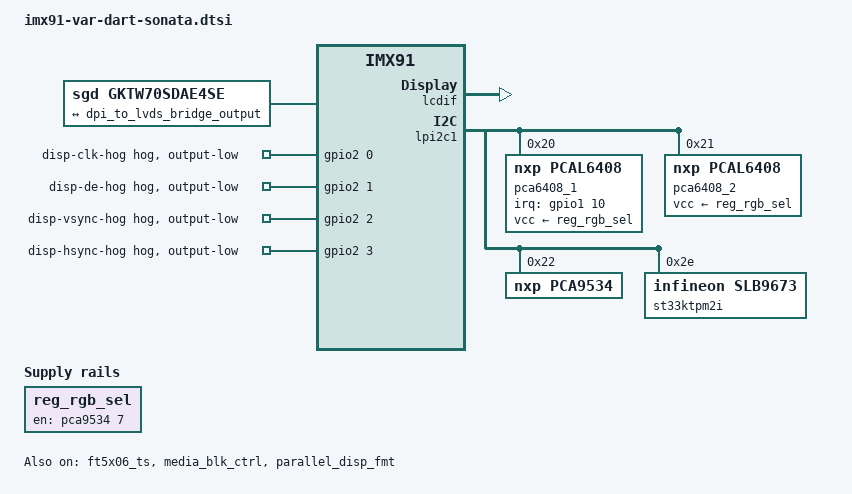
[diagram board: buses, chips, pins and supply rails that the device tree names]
// SPDX-License-Identifier: (GPL-2.0+ OR MIT)
/*
 * Copyright 2024 NXP
 * Copyright 2025 Variscite Ltd.
 */
#include "imx91-var-dart-dt8mcustomboard.dtsi"

/ {
	lvds_panel: lvds-panel {
		compatible = "sgd,gktw70sdae4se", "panel-lvds";
		width-mm = <153>;
		height-mm = <87>;
		label = "gktw70sdae4se";
		data-mapping = "jeida-24";
		status = "okay";

		panel-timing {
			clock-frequency = <30000000>;
			hactive = <800>;
			vactive = <480>;
			hback-porch = <40>;
			hfront-porch = <40>;
			vback-porch = <29>;
			vfront-porch = <13>;
			hsync-len = <48>;
			vsync-len = <3>;
			hsync-active = <0>;
			vsync-active = <0>;
			pixelclk-active = <1>;
			de-active = <1>;
		};

		port {
			lvds_input: endpoint {
				remote-endpoint = <&dpi_to_lvds_bridge_output>;
			};
		};
	};

	reg_rgb_sel: regulator-rgb-sel {
		compatible = "regulator-fixed";
		regulator-name = "rgb-select";
		gpio = <&pca9534 7 GPIO_ACTIVE_HIGH>;
		enable-active-high;
	};
};

&ethphy1 {
	reset-gpios = <&pca6408_2 0 GPIO_ACTIVE_LOW>;
	reset-assert-us = <15000>;
	reset-deassert-us = <100000>;
	mxl-8611x,led0_cfg = <(
		MXL8611X_LEDX_CFG_LINK_UP_RX_ACT_ON |
		MXL8611X_LEDX_CFG_LINK_UP_TX_ACT_ON |
		MXL8611X_LEDX_CFG_TRAFFIC_ACT_BLINK_IND
	)>;
	mxl-8611x,led1_cfg = <(
		MXL8611X_LEDX_CFG_LINK_UP_10MB_ON |
		MXL8611X_LEDX_CFG_LINK_UP_100MB_ON |
		MXL8611X_LEDX_CFG_LINK_UP_1GB_ON
	)>;
};

&ft5x06_ts {
	status = "okay";
};

&gpio_leds {
	/delete-property/ pinctrl-names;
	/delete-property/ pinctrl-0;
	emmc {
		label = "eMMC";
		gpios = <&pca6408_2 7 GPIO_ACTIVE_HIGH>;
		linux,default-trigger = "mmc0";
	};
};

&gpio2 {
	/* avoid power leakage */
	disp-clk-hog {
		gpio-hog;
		gpios = <0 GPIO_ACTIVE_HIGH>;
		output-low;
	};

	disp-de-hog {
		gpio-hog;
		gpios = <1 GPIO_ACTIVE_HIGH>;
		output-low;
	};

	disp-vsync-hog {
		gpio-hog;
		gpios = <2 GPIO_ACTIVE_HIGH>;
		output-low;
	};

	disp-hsync-hog {
		gpio-hog;
		gpios = <3 GPIO_ACTIVE_HIGH>;
		output-low;
	};
};

&iomuxc {
	pinctrl_fec: fecgrp {
		fsl,pins = <
			MX91_PAD_ENET2_RD0__ENET2_RGMII_RD0		0x57e
			MX91_PAD_ENET2_RD1__ENET2_RGMII_RD1		0x57e
			MX91_PAD_ENET2_RD2__ENET2_RGMII_RD2		0x57e
			MX91_PAD_ENET2_RD3__ENET2_RGMII_RD3		0x37e  /* Enable pull-up to strap MXL86110 MDIO address */
			MX91_PAD_ENET2_RXC__ENET2_RGMII_RXC		0x5fe
			MX91_PAD_ENET2_RX_CTL__ENET2_RGMII_RX_CTL	0x57e
			MX91_PAD_ENET2_TD0__ENET2_RGMII_TD0		0x57e
			MX91_PAD_ENET2_TD1__ENET2_RGMII_TD1		0x57e
			MX91_PAD_ENET2_TD2__ENET2_RGMII_TD2		0x57e
			MX91_PAD_ENET2_TD3__ENET2_RGMII_TD3		0x57e
			MX91_PAD_ENET2_TXC__ENET2_RGMII_TXC		0x5fe
			MX91_PAD_ENET2_TX_CTL__ENET2_RGMII_TX_CTL	0x57e
		>;
	};

	pinctrl_fec_sleep: fecsleepgrp {
		fsl,pins = <
			MX91_PAD_ENET2_RD0__GPIO4_IO24			0x51e
			MX91_PAD_ENET2_RD1__GPIO4_IO25			0x51e
			MX91_PAD_ENET2_RD2__GPIO4_IO26			0x51e
			MX91_PAD_ENET2_RD3__GPIO4_IO27			0x31e  /* Enable pull-up to strap MXL86110 MDIO address */
			MX91_PAD_ENET2_RXC__GPIO4_IO23			0x51e
			MX91_PAD_ENET2_RX_CTL__GPIO4_IO22		0x51e
			MX91_PAD_ENET2_TD0__GPIO4_IO19			0x51e
			MX91_PAD_ENET2_TD1__GPIO4_IO18			0x51e
			MX91_PAD_ENET2_TD2__GPIO4_IO17			0x51e
			MX91_PAD_ENET2_TD3__GPIO4_IO16			0x51e
			MX91_PAD_ENET2_TXC__GPIO4_IO21			0x51e
			MX91_PAD_ENET2_TX_CTL__GPIO4_IO20		0x51e
		>;
	};

	pinctrl_lcdif: lcdifgrp {
		fsl,pins = <
			MX91_PAD_GPIO_IO00__MEDIAMIX_DISP_CLK		0x31e
			MX91_PAD_GPIO_IO01__MEDIAMIX_DISP_DE		0x31e
			MX91_PAD_GPIO_IO02__MEDIAMIX_DISP_VSYNC		0x31e
			MX91_PAD_GPIO_IO03__MEDIAMIX_DISP_HSYNC		0x31e

			MX91_PAD_GPIO_IO06__MEDIAMIX_DISP_DATA2		0x31e
			MX91_PAD_GPIO_IO07__MEDIAMIX_DISP_DATA3		0x31e
			MX91_PAD_GPIO_IO08__MEDIAMIX_DISP_DATA4		0x31e
			MX91_PAD_GPIO_IO09__MEDIAMIX_DISP_DATA5		0x31e
			MX91_PAD_GPIO_IO10__MEDIAMIX_DISP_DATA6		0x31e
			MX91_PAD_GPIO_IO11__MEDIAMIX_DISP_DATA7		0x31e

			MX91_PAD_GPIO_IO14__MEDIAMIX_DISP_DATA10	0x31e
			MX91_PAD_GPIO_IO15__MEDIAMIX_DISP_DATA11	0x31e
			MX91_PAD_GPIO_IO16__MEDIAMIX_DISP_DATA12	0x31e
			MX91_PAD_GPIO_IO17__MEDIAMIX_DISP_DATA13	0x31e
			MX91_PAD_GPIO_IO18__MEDIAMIX_DISP_DATA14	0x31e
			MX91_PAD_GPIO_IO19__MEDIAMIX_DISP_DATA15	0x31e

			MX91_PAD_GPIO_IO22__MEDIAMIX_DISP_DATA18	0x31e
			MX91_PAD_GPIO_IO23__MEDIAMIX_DISP_DATA19	0x31e
			MX91_PAD_GPIO_IO24__MEDIAMIX_DISP_DATA20	0x31e
			MX91_PAD_GPIO_IO25__MEDIAMIX_DISP_DATA21	0x31e
			MX91_PAD_GPIO_IO26__MEDIAMIX_DISP_DATA22	0x31e
			MX91_PAD_GPIO_IO27__MEDIAMIX_DISP_DATA23	0x31e
		>;
	};

	pinctrl_lcdif_gpio: lcdifgpiogrp {
		fsl,pins = <
			MX91_PAD_GPIO_IO00__GPIO2_IO0			0x51e
			MX91_PAD_GPIO_IO01__GPIO2_IO1			0x51e
			MX91_PAD_GPIO_IO02__GPIO2_IO2			0x51e
			MX91_PAD_GPIO_IO03__GPIO2_IO3			0x51e

			MX91_PAD_GPIO_IO06__GPIO2_IO6			0x51e
			MX91_PAD_GPIO_IO07__GPIO2_IO7			0x51e
			MX91_PAD_GPIO_IO08__GPIO2_IO8			0x51e
			MX91_PAD_GPIO_IO09__GPIO2_IO9			0x51e
			MX91_PAD_GPIO_IO10__GPIO2_IO10			0x51e
			MX91_PAD_GPIO_IO11__GPIO2_IO11			0x51e

			MX91_PAD_GPIO_IO14__GPIO2_IO14			0x51e
			MX91_PAD_GPIO_IO15__GPIO2_IO15			0x51e
			MX91_PAD_GPIO_IO16__GPIO2_IO16			0x51e
			MX91_PAD_GPIO_IO17__GPIO2_IO17			0x51e
			MX91_PAD_GPIO_IO18__GPIO2_IO18			0x51e
			MX91_PAD_GPIO_IO19__GPIO2_IO19			0x51e

			MX91_PAD_GPIO_IO22__GPIO2_IO22			0x51e
			MX91_PAD_GPIO_IO23__GPIO2_IO23			0x51e
			MX91_PAD_GPIO_IO24__GPIO2_IO24			0x51e
			MX91_PAD_GPIO_IO25__GPIO2_IO25			0x51e
			MX91_PAD_GPIO_IO26__GPIO2_IO26			0x51e
			MX91_PAD_GPIO_IO27__GPIO2_IO27			0x51e
		>;
	};
};

&lcdif {
	status = "okay";
	assigned-clock-rates = <300000000>, <30000000>, <333333334>, <133333333>;
};

/* pin conflicts */
&lpspi8 {
	status = "disabled";
};

&lpi2c7 {
	status = "disabled";
	/delete-node/ gpio@20;
	/delete-node/ gpio@21;
};

&lpi2c1 {
	pca6408_1: gpio@20 {
		compatible = "nxp,pcal6408";
		vcc-supply = <&reg_rgb_sel>;
		reg = <0x20>;
		gpio-controller;
		#gpio-cells = <2>;
		pinctrl-names = "default";
		pinctrl-0 = <&pinctrl_pca6408>;
		interrupt-parent = <&gpio1>;
		interrupts = <10 IRQ_TYPE_EDGE_FALLING>;
	};

	pca6408_2: gpio@21 {
		compatible = "nxp,pcal6408";
		vcc-supply = <&reg_rgb_sel>;
		reg = <0x21>;
		gpio-controller;
		#gpio-cells = <2>;
	};

	pca9534: gpio@22 {
		compatible = "nxp,pca9534";
		reg = <0x22>;
		gpio-controller;
		#gpio-cells = <2>;
	};

	st33ktpm2i: st33ktpm2i@2e {
		compatible = "infineon,slb9673";
		reg = <0x2e>;
	};
};

/* pin conflicts */
&lpuart7 {
	status = "disabled";
};

&media_blk_ctrl {
	status = "okay";
};

&parallel_disp_fmt {
	pinctrl-names = "default", "gpio";
	pinctrl-0 = <&pinctrl_lcdif>;
	pinctrl-1 = <&pinctrl_lcdif_gpio>;
	fsl,interface-pix-fmt = "rgb888";
	status = "okay";

	ports {
		port@1 {
			reg = <1>;

			dpi_to_lvds_bridge_output: endpoint {
				remote-endpoint = <&lvds_input>;
			};
		};
	};
};

&rtc {
	/delete-property/ pinctrl-names;
	/delete-property/ pinctrl-0;
	/delete-property/ interrupt-parent;
	/delete-property/ interrupts;
	/delete-property/ wakeup-source;
};
